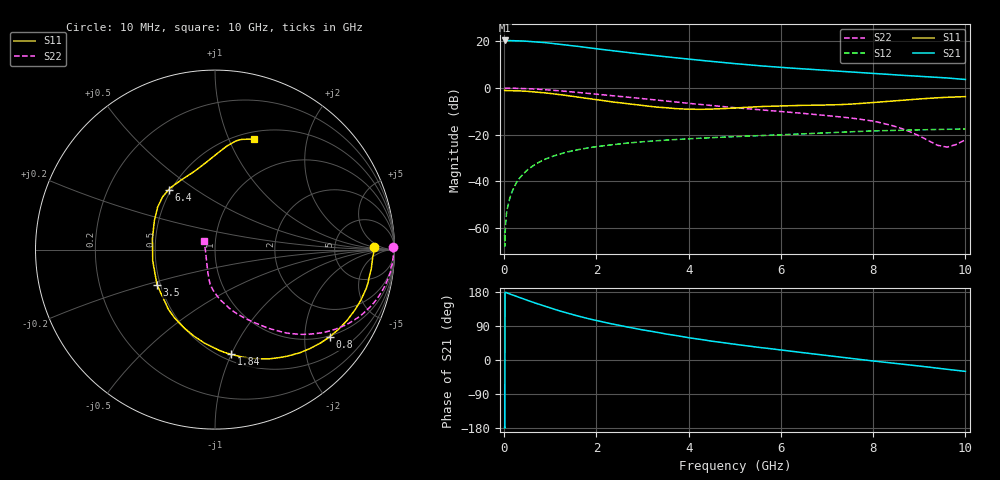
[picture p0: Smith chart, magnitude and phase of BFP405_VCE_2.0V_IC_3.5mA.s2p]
! Infineon Technologies  Discrete & RF Semiconductors
! BFP405
! VCE =  2.0 V,  IC =  3.5 mA
! Common Emitter S-Parameters:  Jan 2016
# GHz  S  MA  R  50
!  f  S11  S21  S12  S22
! GHz  MAG  ANG  MAG  ANG  MAG  ANG  MAG  ANG
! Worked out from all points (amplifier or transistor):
!   233 points, 10 MHz to 10 GHz, reference 50 ohm
!   highest |S21| = 20.4 dB at 10 MHz (marker M1)
!   |S21| within 3 dB of that: start of sweep to 1.775 GHz
!   unconditionally stable (mu >= 1): 10.3 MHz to 15.51 MHz; 3.77 GHz to end of sweep
!   at 200 MHz: K = 0.07, MSG = 31.8 dB, |S12| = -43.3 dB
!   at 1.74 GHz: K = 0.45, MSG = 21.8 dB, |S12| = -26.0 dB
!   at 10 GHz: K = 1.53, MAG = 6.3 dB, |S12| = -17.6 dB
!   S11 on the Smith chart (normalised r, x): 10 MHz: 17, +2; 800 MHz: 0.97, -2.65; 1.84 GHz: 0.56, -1.00; 3.5 GHz: 0.48, -0.22; 6.4 GHz: 0.49, +0.39; 10 GHz: 0.58, +1.24
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0.01  0.8878 0.8  10.51 -177.6  0.0007 -27.1  0.993 0.8
0.015  0.8864 -0.0  10.47 -179.5  0.0004 31.9  0.9922 0.3
0.02  0.8852 -0.9  10.44 178.6  0.0007 91.0  0.9915 -0.2
0.04  0.8816 -2.0  10.41 178.1  0.0016 86.1  0.9928 -0.7
0.08  0.8792 -3.8  10.42 176.2  0.0029 89.4  0.9938 -1.7
0.26  0.8722 -12.2  10.4 168.2  0.009 83.8  0.9845 -6.3
0.5  0.8487 -23.5  10.12 157.8  0.0172 78.3  0.9692 -11.8
0.8  0.8028 -37.3  9.613 145.1  0.0268 71.4  0.9335 -18.5
1.2  0.7229 -54.8  8.748 129.7  0.038 63.1  0.8715 -26.6
1.68  0.6224 -74.7  7.653 113.6  0.049 54.6  0.7902 -34.7
1.84  0.5907 -81.2  7.299 108.7  0.0521 52.1  0.7638 -37.1
2.2  0.5273 -95.8  6.588 98.7  0.0584 47.2  0.7068 -41.8
2.6  0.4686 -111.7  5.899 88.7  0.0645 42.5  0.6477 -46.5
3.4  0.3824 -144.3  4.819 71.2  0.0748 34.3  0.5392 -55.0
3.5  0.3779 -148.8  4.711 68.8  0.076 33.4  0.5265 -56.1
4.1  0.3494 -174.0  4.082 57.1  0.0821 28.4  0.4584 -62.0
5.1  0.3778 152.3  3.274 39.9  0.091 21.2  0.3709 -71.9
6.4  0.422 127.6  2.609 20.6  0.1029 13.7  0.2896 -82.6
6.8  0.4272 119.6  2.451 14.7  0.1071 11.1  0.2666 -86.1
8.4  0.5249 90.0  1.937 -8.0  0.1226 -0.6  0.1572 -103.1
9.6  0.6313 76.5  1.644 -24.5  0.1297 -9.2  0.0537 -175.4
10  0.6531 70.7  1.525 -30.0  0.1316 -11.6  0.0772 142.5
